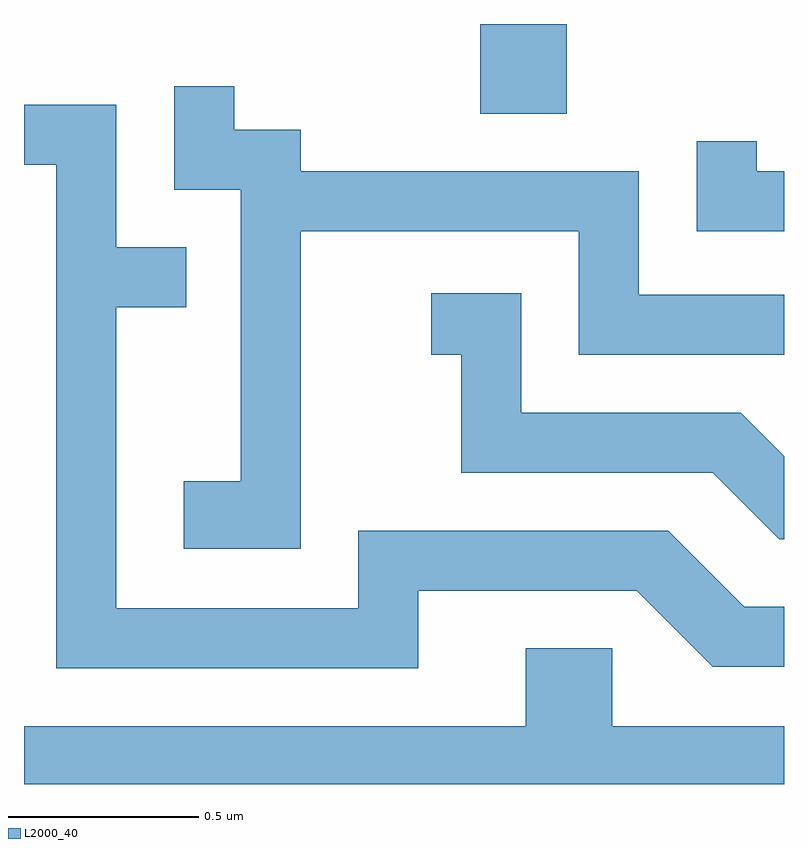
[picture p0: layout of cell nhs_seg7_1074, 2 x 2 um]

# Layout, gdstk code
import gdstk
lib = gdstk.Library(unit=1e-6, precision=1e-09)
def R(c, l, rs):  # rectangles x0, y0, x1, y1
    for r in rs: c.add(gdstk.rectangle(r[:2], r[2:], *l))
def P(c, l, *ps):  # polygons
    for p in ps: c.add(gdstk.Polygon(p, *l))
L2000_40 = (2000, 40)

nhs_seg7_1074 = lib.new_cell('nhs_seg7_1074')
R(nhs_seg7_1074, L2000_40, [(193.811,1785.016,194.039,1785.252)])
P(nhs_seg7_1074, L2000_40, [(193.339,1784.706),(194.071,1784.706),(194.071,1784.381),(194.611,1784.381),(194.611,1784.539),(194.229,1784.539),(194.229,1784.864),(193.339,1784.864),(193.339,1784.974),(193.164,1784.974),(193.164,1785.088),(193.006,1785.088),(193.006,1784.816),(193.181,1784.816),(193.181,1784.049),(193.031,1784.049),(193.031,1783.871),(193.339,1783.871)],
  [(193.649,1783.761),(194.224,1783.761),(194.424,1783.561),(194.611,1783.561),(194.611,1783.719),(194.507,1783.719),(194.307,1783.919),(193.491,1783.919),(193.491,1783.714),(192.854,1783.714),(192.854,1784.506),(193.038,1784.506),(193.038,1784.664),(192.854,1784.664),(192.854,1785.039),(192.611,1785.039),(192.611,1784.881),(192.696,1784.881),(192.696,1783.556),(193.649,1783.556)],
  [(194.611,1784.864),(194.539,1784.864),(194.539,1784.943),(194.381,1784.943),(194.381,1784.706),(194.611,1784.706)],
  [(194.611,1784.115),(194.497,1784.229),(193.919,1784.229),(193.919,1784.544),(193.683,1784.544),(193.683,1784.381),(193.761,1784.381),(193.761,1784.071),(194.424,1784.071),(194.599,1783.896),(194.611,1783.896)],
  [(194.611,1783.404),(194.159,1783.404),(194.159,1783.609),(193.931,1783.609),(193.931,1783.404),(192.611,1783.404),(192.611,1783.252),(194.611,1783.252)])

lib.write_gds('nhs_seg7_1074.gds')
